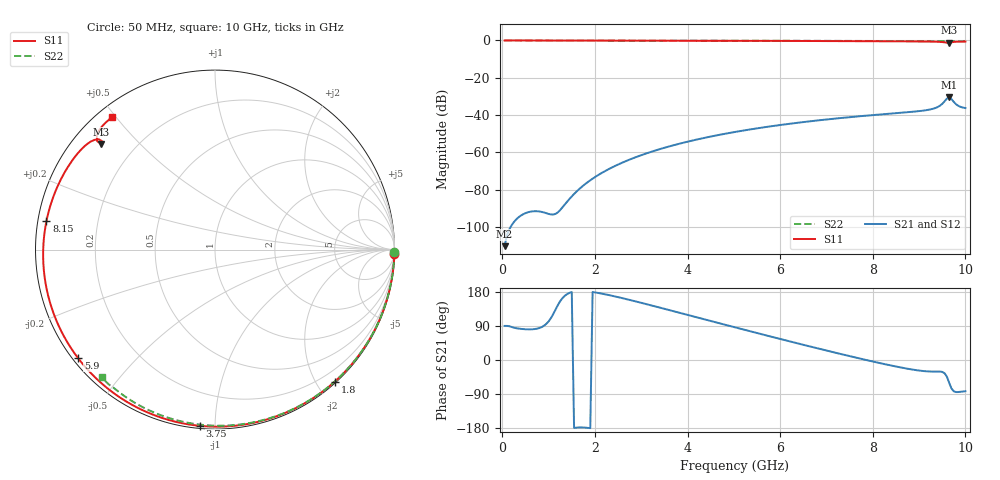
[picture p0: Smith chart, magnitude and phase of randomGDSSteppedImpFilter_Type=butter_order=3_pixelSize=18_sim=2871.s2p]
! freq	dB(S11)	phase(S11)	dB(S12)	phase(S12)
!  dB(S21)	phase(S21)	dB(S22)	phase(S22)
!S-par simulation data
#  GHz  S  DB  R 50
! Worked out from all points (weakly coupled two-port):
!   200 points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, 50 MHz to 10 GHz, reference 50 ohm
!   highest |S21| = -30.54 dB at 9.65 GHz (marker M1); lowest = -110.4 dB at 50 MHz (marker M2)
!   lowest |S11| = -1.2 dB at 9.65 GHz (marker M3), VSWR 14.06, Z = 4.1 + j19.5 ohm
!   |S11| at or under -10 dB: nowhere
!   |S22| runs from -0.4 to 0.0 dB; largest |S21 - S12| = 0
!   S11 on the Smith chart (normalised r, x): 50 MHz: 0, -84; 1.8 GHz: 0.02, -2.26; 3.75 GHz: 0.01, -0.92; 5.9 GHz: 0.02, -0.35; 8.15 GHz: 0.02, +0.08; 10 GHz: 0.04, +0.49
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0.05  -0.00 -1.4  -110.39 89.9  -110.39 89.9  -0.00 -0.8
0.8  -0.03 -21.6  -91.75 84.3  -91.75 84.3  -0.02 -12.1
1.65  -0.06 -43.9  -79.97 -178.0  -79.97 -178.0  -0.03 -24.8
1.75  -0.06 -46.5  -77.84 -178.1  -77.84 -178.1  -0.03 -26.2
1.8  -0.06 -47.7  -76.85 -178.5  -76.85 -178.5  -0.03 -27.0
2.1  -0.07 -55.4  -71.78 176.3  -71.78 176.3  -0.04 -31.4
2.5  -0.08 -65.3  -66.58 165.9  -66.58 165.9  -0.05 -37.2
3.4  -0.11 -86.8  -58.32 138.3  -58.32 138.3  -0.07 -50.0
3.75  -0.12 -94.9  -55.88 127.1  -55.88 127.1  -0.07 -54.8
4.4  -0.15 -109.4  -52.08 106.2  -52.08 106.2  -0.09 -63.7
5.05  -0.18 -123.5  -48.99 85.4  -48.99 85.4  -0.11 -72.3
5.9  -0.23 -141.5  -45.71 58.6  -45.71 58.6  -0.14 -83.2
6.7  -0.29 -158.3  -43.22 34.0  -43.22 34.0  -0.18 -93.2
7.45  -0.35 -174.3  -41.28 11.7  -41.28 11.7  -0.22 -102.2
8.15  -0.42 170.4  -39.74 -8.1  -39.74 -8.1  -0.27 -110.5
8.35  -0.45 165.9  -39.33 -13.4  -39.33 -13.4  -0.29 -112.8
9.3  -0.62 143.1  -36.67 -30.6  -36.67 -30.6  -0.38 -123.7
9.45  -0.75 139.0  -35.03 -30.5  -35.03 -30.5  -0.40 -125.3
9.65  -1.24 137.2  -30.54 -60.1  -30.54 -60.1  -0.39 -127.5
9.75  -0.77 136.0  -32.99 -82.7  -32.99 -82.7  -0.40 -128.8
9.85  -0.62 132.5  -35.13 -84.5  -35.13 -84.5  -0.41 -129.9
10  -0.59 128.0  -36.27 -82.3  -36.27 -82.3  -0.44 -131.6
